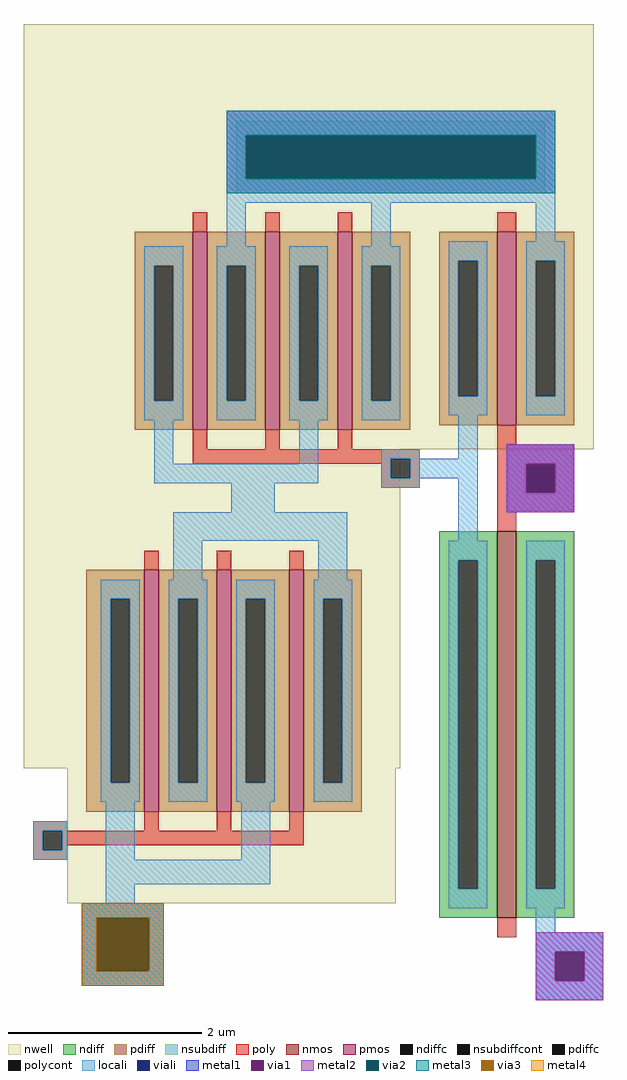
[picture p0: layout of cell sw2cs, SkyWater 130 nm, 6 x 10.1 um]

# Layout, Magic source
magic
tech sky130A
<< nwell >>
rect -635 1035 -45 1475
rect -635 705 -245 1035
rect -590 565 -250 705
<< nmos >>
rect -145 550 -125 950
<< pmos >>
rect -460 1055 -445 1260
rect -385 1055 -370 1260
rect -310 1055 -295 1260
rect -145 1060 -125 1260
rect -510 660 -495 910
rect -435 660 -420 910
rect -360 660 -345 910
<< ndiff >>
rect -205 920 -145 950
rect -205 580 -185 920
rect -165 580 -145 920
rect -205 550 -145 580
rect -125 920 -65 950
rect -125 580 -105 920
rect -85 580 -65 920
rect -125 550 -65 580
<< pdiff >>
rect -520 1225 -460 1260
rect -520 1085 -500 1225
rect -480 1085 -460 1225
rect -520 1055 -460 1085
rect -445 1225 -385 1260
rect -445 1085 -425 1225
rect -405 1085 -385 1225
rect -445 1055 -385 1085
rect -370 1225 -310 1260
rect -370 1085 -350 1225
rect -330 1085 -310 1225
rect -370 1055 -310 1085
rect -295 1225 -235 1260
rect -295 1085 -275 1225
rect -255 1085 -235 1225
rect -295 1055 -235 1085
rect -205 1230 -145 1260
rect -205 1090 -185 1230
rect -165 1090 -145 1230
rect -205 1060 -145 1090
rect -125 1230 -65 1260
rect -125 1090 -105 1230
rect -85 1090 -65 1230
rect -125 1060 -65 1090
rect -570 880 -510 910
rect -570 690 -545 880
rect -525 690 -510 880
rect -570 660 -510 690
rect -495 880 -435 910
rect -495 690 -475 880
rect -455 690 -435 880
rect -495 660 -435 690
rect -420 880 -360 910
rect -420 690 -405 880
rect -385 690 -360 880
rect -420 660 -360 690
rect -345 880 -285 910
rect -345 690 -325 880
rect -305 690 -285 880
rect -345 660 -285 690
<< ndiffc >>
rect -185 580 -165 920
rect -105 580 -85 920
<< pdiffc >>
rect -500 1085 -480 1225
rect -425 1085 -405 1225
rect -350 1085 -330 1225
rect -275 1085 -255 1225
rect -185 1090 -165 1230
rect -105 1090 -85 1230
rect -545 690 -525 880
rect -475 690 -455 880
rect -405 690 -385 880
rect -325 690 -305 880
<< nsubdiff >>
rect -415 1360 -95 1375
rect -415 1315 -395 1360
rect -115 1315 -95 1360
rect -415 1300 -95 1315
<< nsubdiffcont >>
rect -395 1315 -115 1360
<< poly >>
rect -460 1260 -445 1280
rect -385 1260 -370 1280
rect -310 1260 -295 1280
rect -145 1260 -125 1280
rect -460 1035 -445 1055
rect -385 1035 -370 1055
rect -310 1035 -295 1055
rect -145 1040 -125 1060
rect -460 1025 -225 1035
rect -460 1020 -255 1025
rect -265 1005 -255 1020
rect -235 1005 -225 1025
rect -265 995 -225 1005
rect -145 1020 -65 1040
rect -145 990 -115 1020
rect -85 990 -65 1020
rect -145 970 -65 990
rect -145 950 -125 970
rect -510 910 -495 930
rect -435 910 -420 930
rect -360 910 -345 930
rect -625 640 -590 650
rect -510 640 -495 660
rect -435 640 -420 660
rect -360 640 -345 660
rect -625 620 -615 640
rect -595 625 -345 640
rect -595 620 -590 625
rect -625 610 -590 620
rect -145 530 -125 550
<< polycont >>
rect -255 1005 -235 1025
rect -115 990 -85 1020
rect -615 620 -595 640
<< locali >>
rect -425 1360 -85 1385
rect -425 1315 -405 1360
rect -105 1315 -85 1360
rect -425 1290 -85 1315
rect -425 1245 -405 1290
rect -275 1245 -255 1290
rect -105 1250 -85 1290
rect -510 1225 -470 1245
rect -510 1085 -500 1225
rect -480 1085 -470 1225
rect -510 1065 -470 1085
rect -435 1225 -395 1245
rect -435 1085 -425 1225
rect -405 1085 -395 1225
rect -435 1065 -395 1085
rect -360 1225 -320 1245
rect -360 1085 -350 1225
rect -330 1085 -320 1225
rect -360 1065 -320 1085
rect -285 1225 -245 1245
rect -285 1085 -275 1225
rect -255 1085 -245 1225
rect -285 1065 -245 1085
rect -195 1230 -155 1250
rect -195 1090 -185 1230
rect -165 1090 -155 1230
rect -195 1070 -155 1090
rect -115 1230 -75 1250
rect -115 1090 -105 1230
rect -85 1090 -75 1230
rect -115 1070 -75 1090
rect -500 1020 -480 1065
rect -350 1020 -330 1065
rect -500 1000 -330 1020
rect -265 1025 -225 1035
rect -185 1025 -165 1070
rect -265 1005 -255 1025
rect -235 1005 -165 1025
rect -420 970 -375 1000
rect -265 995 -225 1005
rect -480 940 -300 970
rect -185 940 -165 1005
rect -135 1020 -65 1040
rect -135 990 -115 1020
rect -85 990 -65 1020
rect -135 970 -65 990
rect -480 900 -450 940
rect -330 900 -300 940
rect -195 920 -155 940
rect -555 880 -515 900
rect -555 690 -545 880
rect -525 690 -515 880
rect -555 670 -515 690
rect -485 880 -445 900
rect -485 690 -475 880
rect -455 690 -445 880
rect -485 670 -445 690
rect -415 880 -375 900
rect -415 690 -405 880
rect -385 690 -375 880
rect -415 670 -375 690
rect -335 880 -295 900
rect -335 690 -325 880
rect -305 690 -295 880
rect -335 670 -295 690
rect -625 640 -590 650
rect -625 620 -615 640
rect -595 620 -590 640
rect -625 610 -590 620
rect -550 610 -520 670
rect -410 610 -380 670
rect -550 585 -380 610
rect -550 565 -520 585
rect -195 580 -185 920
rect -165 580 -155 920
rect -575 550 -490 565
rect -195 560 -155 580
rect -115 920 -75 940
rect -115 580 -105 920
rect -85 580 -75 920
rect -115 560 -75 580
rect -575 495 -560 550
rect -505 495 -490 550
rect -575 480 -490 495
rect -105 535 -85 560
rect -105 515 -35 535
rect -105 485 -85 515
rect -55 485 -35 515
rect -105 465 -35 485
<< viali >>
rect -405 1315 -395 1360
rect -395 1315 -115 1360
rect -115 1315 -105 1360
rect -115 990 -85 1020
rect -560 495 -505 550
rect -85 485 -55 515
<< metal1 >>
rect -425 1360 -85 1385
rect -425 1315 -405 1360
rect -105 1315 -85 1360
rect -425 1300 -85 1315
rect -135 1020 -65 1040
rect -135 990 -115 1020
rect -85 990 -65 1020
rect -135 970 -65 990
rect -575 550 -490 565
rect -575 495 -560 550
rect -505 495 -490 550
rect -575 480 -490 495
rect -105 515 -35 535
rect -105 485 -85 515
rect -55 485 -35 515
rect -105 465 -35 485
<< via1 >>
rect -405 1315 -105 1360
rect -115 990 -85 1020
rect -560 495 -505 550
rect -85 485 -55 515
<< metal2 >>
rect -425 1360 -85 1385
rect -425 1315 -405 1360
rect -105 1315 -85 1360
rect -425 1300 -85 1315
rect -135 1020 -65 1040
rect -135 990 -115 1020
rect -85 990 -65 1020
rect -135 970 -65 990
rect -575 550 -490 565
rect -575 495 -560 550
rect -505 495 -490 550
rect -575 480 -490 495
rect -105 515 -35 535
rect -105 485 -85 515
rect -55 485 -35 515
rect -105 465 -35 485
<< via2 >>
rect -405 1315 -105 1360
rect -560 495 -505 550
<< metal3 >>
rect -425 1360 -85 1385
rect -425 1315 -405 1360
rect -105 1315 -85 1360
rect -425 1300 -85 1315
rect -575 550 -490 565
rect -575 495 -560 550
rect -505 495 -490 550
rect -575 480 -490 495
<< via3 >>
rect -560 495 -505 550
<< metal4 >>
rect -575 550 -490 565
rect -575 495 -560 550
rect -505 495 -490 550
rect -575 480 -490 495
<< end >>
